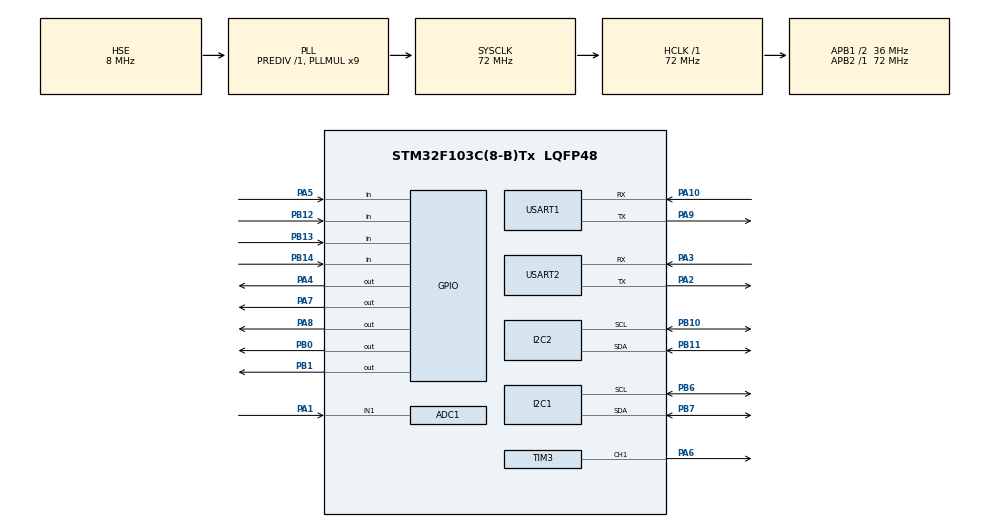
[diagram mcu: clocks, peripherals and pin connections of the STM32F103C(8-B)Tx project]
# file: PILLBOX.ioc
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ADC1.Channel-0\#ChannelRegularConversion=ADC_CHANNEL_1
ADC1.NbrOfConversionFlag=1
ADC1.Rank-0\#ChannelRegularConversion=1
ADC1.SamplingTime-0\#ChannelRegularConversion=ADC_SAMPLETIME_1CYCLE_5
ADC1.master=1
Mcu.Family=STM32F1
Mcu.Name=STM32F103C(8-B)Tx
Mcu.Package=LQFP48
NVIC.ADC1_2_IRQn=true\:2\:0\:true\:false\:true\:true\:true\:true
NVIC.PriorityGroup=NVIC_PRIORITYGROUP_4
NVIC.RTC_Alarm_IRQn=true\:0\:0\:false\:false\:true\:true\:true\:true
NVIC.RTC_IRQn=true\:1\:0\:true\:false\:true\:true\:true\:true
PA1.Signal=ADCx_IN1
PA10.Mode=Asynchronous
PA10.Signal=USART1_RX
PA13.Mode=Serial_Wire
PA13.Signal=SYS_JTMS-SWDIO
PA14.Mode=Serial_Wire
PA14.Signal=SYS_JTCK-SWCLK
PA2.Mode=Asynchronous
PA2.Signal=USART2_TX
PA3.Mode=Asynchronous
PA3.Signal=USART2_RX
PA4.Signal=GPIO_Output
PA5.GPIO_PuPd=GPIO_PULLUP
PA5.Signal=GPIO_Input
PA6.Signal=S_TIM3_CH1
PA7.PinState=GPIO_PIN_SET
PA7.Signal=GPIO_Output
PA8.GPIO_ModeDefaultOutputPP=GPIO_MODE_OUTPUT_OD
PA8.GPIO_PuPd=GPIO_NOPULL
PA8.PinState=GPIO_PIN_SET
PA8.Signal=GPIO_Output
PA9.Mode=Asynchronous
PA9.Signal=USART1_TX
PB0.PinState=GPIO_PIN_SET
PB0.Signal=GPIO_Output
PB1.PinState=GPIO_PIN_SET
PB1.Signal=GPIO_Output
PB10.Mode=I2C
PB10.Signal=I2C2_SCL
PB11.Mode=I2C
PB11.Signal=I2C2_SDA
PB12.GPIO_PuPd=GPIO_PULLUP
PB12.Signal=GPIO_Input
PB13.GPIO_PuPd=GPIO_PULLUP
PB13.Signal=GPIO_Input
PB14.GPIO_PuPd=GPIO_PULLUP
PB14.Signal=GPIO_Input
PB6.Mode=I2C
PB6.Signal=I2C1_SCL
PB7.Mode=I2C
PB7.Signal=I2C1_SDA
PC14-OSC32_IN.Mode=LSE-External-Oscillator
PC14-OSC32_IN.Signal=RCC_OSC32_IN
PC15-OSC32_OUT.Mode=LSE-External-Oscillator
PC15-OSC32_OUT.Signal=RCC_OSC32_OUT
PD0-OSC_IN.Mode=HSE-External-Oscillator
PD0-OSC_IN.Signal=RCC_OSC_IN
PD1-OSC_OUT.Mode=HSE-External-Oscillator
PD1-OSC_OUT.Signal=RCC_OSC_OUT
ProjectManager.HeapSize=0x200
ProjectManager.StackSize=0x400
ProjectManager.TargetToolchain=MDK-ARM V5
RCC.ADCPresc=RCC_ADCPCLK2_DIV6
RCC.AHBFreq_Value=72000000
RCC.APB1CLKDivider=RCC_HCLK_DIV2
RCC.APB1Freq_Value=36000000
RCC.APB1TimFreq_Value=72000000
RCC.APB2Freq_Value=72000000
RCC.APB2TimFreq_Value=72000000
RCC.HCLKFreq_Value=72000000
RCC.PLLMUL=RCC_PLL_MUL9
RCC.PLLSourceVirtual=RCC_PLLSOURCE_HSE
RCC.RTCClockSelection=RCC_RTCCLKSOURCE_LSE
RCC.SYSCLKFreq_VALUE=72000000
RCC.SYSCLKSource=RCC_SYSCLKSOURCE_PLLCLK
RCC.USBFreq_Value=72000000
RTC.Date=14
RTC.Format=RTC_FORMAT_BIN
RTC.Month=RTC_MONTH_APRIL
RTC.WeekDay=RTC_WEEKDAY_TUESDAY
SH.ADCx_IN1.0=ADC1_IN1,IN1
SH.S_TIM3_CH1.0=TIM3_CH1,PWM Generation1 CH1
TIM3.Channel-PWM\ Generation1\ CH1=TIM_CHANNEL_1
TIM3.Period=20000-1
TIM3.Prescaler=72-1
USART1.VirtualMode=VM_ASYNC
USART2.VirtualMode=VM_ASYNC
VP_RTC_VS_RTC_Activate.Mode=RTC_Enabled
VP_RTC_VS_RTC_Calendar.Mode=RTC_Calendar
board=custom

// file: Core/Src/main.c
/* USER CODE BEGIN Header */
/**
  ******************************************************************************
  * @file           : main.c
  * @brief          : Main program body
  ******************************************************************************
  * @attention
  *
  * Copyright (c) 2026 STMicroelectronics.
  * All rights reserved.
  *
  * This software is licensed under terms that can be found in the LICENSE file
  * in the root directory of this software component.
  * If no LICENSE file comes with this software, it is provided AS-IS.
  *
  ******************************************************************************
  */
/* USER CODE END Header */
#include "main.h"
#include "adc.h"
#include "i2c.h"
#include "rtc.h"
#include "tim.h"
#include "usart.h"
#include "gpio.h"

/* USER CODE BEGIN Includes */
#include "hardware_config.h"
#include "oled.h"
#include "cw2015.h"
#include "wifi.h"
#include "TW_TTS.h"
#include "servo.h"
#include "actuator.h"
#include "dht11.h"
#include "hx711.h"
#include "light_sensor.h"
#include "key.h"
#include <stdio.h>
#include <string.h>
/* USER CODE END Includes */

/* USER CODE BEGIN PV */
static DHT11_Data dht11_data = {0, 0};
static CW2015_Data cw2015_data = {0, 0, 0};
static uint32_t last_dht11_tick = 0;
static uint32_t last_loop_tick = 0;
static uint8_t medicine_percent = 0;
static float max_weight = 1000.0f;
static uint8_t medicine_low_warned = 0;
static uint32_t last_medicine_warn_tick = 0;
static uint32_t last_wifi_check_tick = 0;
static uint32_t wifi_reconnect_backoff = 5000;
static uint32_t last_cw2015_reinit_tick = 0;
static volatile uint8_t uart2_busy = 0;
volatile uint8_t rtc_time_synced = 0;
/* USER CODE END PV */

void SystemClock_Config(void);

/* USER CODE BEGIN 0 */
/**
 * @brief 微秒级延时函数
 * @details 该函数实现微秒级的精确延时，用于需要精确时序控制的场景，
 *          如 DHT11 传感器通信等
 * @param us 延时时间（单位：微秒）
 * @return 无
 * @note 该函数使用系统时钟频率计算延时周期，通过空操作实现延时
 */
void HAL_Delay_us(uint32_t us)
{
    // 计算延时所需的时钟周期数（考虑系统时钟频率）
    uint32_t ticks = us * (SystemCoreClock / 1000000) / 5;
    // 循环执行空操作，消耗时钟周期
    while (ticks--)
    {
        __NOP();  // 空操作指令
    }
}
/* USER CODE END 0 */

int main(void)
{

  /* MCU Configuration--------------------------------------------------------*/

  /* Reset of all peripherals, Initializes the Flash interface and the Systick. */
  HAL_Init();

  /* Configure the system clock */
  SystemClock_Config();

  /* Initialize all configured peripherals */
  MX_GPIO_Init();
  MX_ADC1_Init();
  MX_I2C1_Init();
  MX_I2C2_Init();
  MX_RTC_Init();
  MX_TIM3_Init();
  MX_USART1_UART_Init();
  MX_USART2_UART_Init();
  /* USER CODE BEGIN 2 */
  OLED_Init();
  CW2015_Init();
  DHT11_Init();
  HX711_Init();
  Servo_Init();
  Actuator_Init();
  TTS_Init();
  Key_Init();
  WiFi_Init();

  OLED_Clear();
  OLED_ShowString(0, 0, "PILLBOX");
  OLED_ShowString(0, 1, "Initializing...");
  OLED_UpdateDisplay();
  HAL_Delay(500);

  WiFi_Connect(WIFI_SSID, WIFI_PASSWORD);

  OLED_Clear();
  OLED_UpdateDisplay();
  last_loop_tick = HAL_GetTick();
  last_dht11_tick = HAL_GetTick();
  last_wifi_check_tick = HAL_GetTick();
  /* USER CODE END 2 */

  /* Infinite loop */
  while (1)
  {

    /* USER CODE BEGIN 3 */
    // ==================== 主循环任务调度（非阻塞） ====================
// 检查是否到达主循环执行周期（通过时间差判断，避免阻塞）
if ((int32_t)(HAL_GetTick() - last_loop_tick) >= MAIN_LOOP_PERIOD_MS)
{
    last_loop_tick = HAL_GetTick(); // 更新上一次主循环的执行时间戳

    // ==================== 基础外设处理 ====================
    Key_Process();   // 按键扫描与逻辑处理（如按键消抖、功能触发）
//    Servo_Process(); // 舵机状态更新与控制（如开关盒动作执行）

    // ==================== DHT11 温湿度读取（定时） ====================
    // 检查是否到达 DHT11 读取间隔
    if ((int32_t)(HAL_GetTick() - last_dht11_tick) >= DHT11_READ_INTERVAL_MS)
    {
        last_dht11_tick = HAL_GetTick(); // 更新 DHT11 读取时间戳
        DHT11_ReadData(&dht11_data);     // 读取温湿度数据并存入结构体
    }

    // ==================== 光照传感器与执行器控制 ====================
    uint8_t light_pct = LightSensor_GetPercent();                     // 获取光照强度百分比
    Actuator_Update(dht11_data.temp, dht11_data.hum, light_pct);     // 根据环境数据更新执行器（风扇/加热器/LED等）

    // ==================== HX711 重量传感器与药品剩余计算 ====================
    HX711_GetWeight();
    medicine_percent = (weight/10/max_weight)*100.0f;

    // ==================== CW2015 电池电量计读取 ====================
    CW2015_ReadData(&cw2015_data);
    if (!cw2015_data.comm_ok)
    {
        if ((int32_t)(HAL_GetTick() - last_cw2015_reinit_tick) >= 10000)
        {
            last_cw2015_reinit_tick = HAL_GetTick();
            CW2015_Init();
        }
    }

    // ==================== 设备状态打包与 WiFi 上报 ====================
    {
        Device_Status dev_status;
        dev_status.temp = dht11_data.temp;
        dev_status.hum = dht11_data.hum;
        dev_status.medicine_percent = medicine_percent;
        dev_status.light_percent = device_state.light_percent;
        dev_status.volume = device_state.current_volume;
        dev_status.battery_soc = cw2015_data.soc;
        dev_status.battery_voltage = cw2015_data.voltage_mv;
        dev_status.led_state = device_state.led_state;
        dev_status.fan_state = device_state.fan_state;
        dev_status.heater_state = device_state.heater_state;
        dev_status.box_open = Servo_IsOpen();
        dev_status.rtc_synced = rtc_time_synced;
        WiFi_UpdateStatus(&dev_status);
    }

    // ==================== TTS 服药提醒检查 ====================
    TTS_CheckReminders(); // 检查是否到达定时服药时间，触发 TTS 语音提醒

    // ==================== WiFi 数据缓冲区处理 ====================
    WiFi_ProcessBuffer(); // 处理 WiFi 模块接收的数据（如解析服务器下发的指令）

    // ==================== WiFi 连接状态检查与重连（每5秒） ====================
    if ((int32_t)(HAL_GetTick() - last_wifi_check_tick) >= wifi_reconnect_backoff)
    {
        last_wifi_check_tick = HAL_GetTick();
        WiFi_State *ws = WiFi_GetState();
        if (!ws->connected)
        {
            WiFi_Connect(WIFI_SSID, WIFI_PASSWORD);
            if (wifi_reconnect_backoff < 60000)
                wifi_reconnect_backoff *= 2;
            else
                wifi_reconnect_backoff = 60000;
        }
        else
        {
            wifi_reconnect_backoff = 5000;
        }
    }

    // ==================== WiFi 命令解析与执行 ====================
    char wifi_cmd_buf[4] = {0};
    uint8_t wifi_cmd_len = WiFi_GetCommand(wifi_cmd_buf); // 从 WiFi 模块获取下发的命令
    if (wifi_cmd_len > 0)
    {
        char wifi_cmd = wifi_cmd_buf[0]; // 提取命令字（首字节）

        // 命令 'O'：切换药盒开关（开→关 / 关→开）
        if (wifi_cmd == 'O')
        {
            if (Servo_IsOpen())
            {
                Servo_Toggle();       // 切换舵机状态（关闭药盒）
                TTS_PLAY1(1); // TTS 语音提示
            }
            else
            {
                Servo_Toggle();       // 切换舵机状态（打开药盒）
                TTS_PLAY1(0);// TTS 语音提示
            }
        }
        // 命令 'C'：关闭药盒（仅当药盒打开时执行）
        else if (wifi_cmd == 'C')
        {
            if (Servo_IsOpen())
            {
                Servo_Toggle();       // 关闭药盒
                TTS_PLAY1(1); // TTS 语音提示
            }
        }
        // 命令 'U'：音量增加
        else if (wifi_cmd == 'U')
        {
            TTS_VolumeUp();                          // TTS 音量 +1
            device_state.current_volume = TTS_GetVolume(); // 保存当前音量到全局状态
        }
        // 命令 'D'：音量减小
        else if (wifi_cmd == 'D')
        {
            TTS_VolumeDown();                        // TTS 音量 -1
            device_state.current_volume = TTS_GetVolume(); // 保存当前音量到全局状态
        }
        // 命令 'V'：设置指定音量（0-100）
        else if (wifi_cmd == 'V')
        {
            uint8_t vol = wifi_cmd_buf[1];          // 提取音量值（命令第二字节）
            TTS_SetVolume100(vol);                   // 设置 TTS 音量（范围 0-100）
            device_state.current_volume = TTS_GetVolume(); // 保存当前音量到全局状态
        }
    }

    // ==================== 药品不足提醒（定时 TTS） ====================
    if (medicine_percent < 10)
    {
        // 若未提醒过，或距离上次提醒超过 60 秒，触发提醒
        if (!medicine_low_warned || (int32_t)(HAL_GetTick() - last_medicine_warn_tick) >= 60000)
        {
            TTS_PLAY1(2);              // TTS 播放“药品不足”提醒
            medicine_low_warned = 1;             // 标记“已提醒”
            last_medicine_warn_tick = HAL_GetTick(); // 更新提醒时间戳
        }
    }
    else
    {
        medicine_low_warned = 0; // 药品充足时，重置“已提醒”标记
    }

    // ==================== OLED 显示屏更新 ====================
    OLED_Clear(); // 清空 OLED 显示缓冲区（准备绘制新内容）
    // 获取 RTC 实时时钟时间与日期
    RTC_TimeTypeDef sTime;
    RTC_DateTypeDef sDate;
    HAL_RTC_GetTime(&hrtc, &sTime, RTC_FORMAT_BIN); // 获取时间（二进制格式）
    HAL_RTC_GetDate(&hrtc, &sDate, RTC_FORMAT_BIN); // 获取日期（二进制格式，本代码未用日期）

    // -------------------- 第 0 行：时间 + 音量 --------------------
    OLED_ShowString(0, 0, "T:");       // 显示 "T:"（时间前缀）
    OLED_ShowNum(12, 0, sTime.Hours, 2);   // 显示小时（2位）
    OLED_ShowString(24, 0, ":");       // 显示 ":"
    OLED_ShowNum(30, 0, sTime.Minutes, 2); // 显示分钟（2位）
    OLED_ShowString(42, 0, ":");       // 显示 ":"
    OLED_ShowNum(48, 0, sTime.Seconds, 2); // 显示秒（2位）

    OLED_ShowString(66, 0, "V:");      // 显示 "V:"（音量前缀）
    OLED_ShowNum(78, 0, device_state.current_volume, 3); // 显示音量（3位）

    // -------------------- 第 1 行：温度 + 湿度 --------------------
    OLED_ShowString(0, 1, "Temp:");    // 显示 "Temp:"（温度前缀）
    OLED_ShowNum(30, 1, dht11_data.temp, 2); // 显示温度（2位）
    OLED_ShowString(42, 1, "C");       // 显示 "C"（摄氏度单位）

    OLED_ShowString(66, 1, "Hum:");     // 显示 "Hum:"（湿度前缀）
    OLED_ShowNum(90, 1, dht11_data.hum, 2);  // 显示湿度（2位）
    OLED_ShowString(102, 1, "%");       // 显示 "%"（百分比单位）

    // -------------------- 第 2 行：药品剩余 + 电池电量 --------------------
    OLED_ShowString(0, 2, "Med:");     // 显示 "Med:"（药品前缀）
    OLED_ShowPercent(24, 2, medicine_percent); // 显示药品剩余百分比

    OLED_ShowString(66, 2, "Bat:");     // 显示 "Bat:"（电池前缀）
    OLED_ShowPercent(90, 2, cw2015_data.soc); // 显示电池电量百分比

    // -------------------- 第 3 行：光照强度 --------------------
    OLED_ShowString(0, 3, "Light:");   // 显示 "Light:"（光照前缀）
    OLED_ShowPercent(36, 3, device_state.light_percent); // 显示光照百分比

    // -------------------- 第 4 行：WiFi 状态与 IP --------------------
    WiFi_State *ws = WiFi_GetState();   // 获取 WiFi 状态
    if (ws->connected)
    {
        OLED_ShowString(0, 4, "IP:");   // 显示 "IP:"
        if (ws->ip[0] != '\0')
        {
            OLED_ShowString(18, 4, ws->ip); // 显示已获取的 IP 地址
        }
        else
        {
            OLED_ShowString(18, 4, "getting..."); // 正在获取 IP 中
        }
    }
    else
    {
        OLED_ShowString(0, 4, "Connecting..."); // 正在连接 WiFi
    }

    OLED_UpdateDisplay(); // 将缓冲区内容刷新到 OLED 屏幕（实际显示更新）
}
}
  /* USER CODE END 3 */
}

void SystemClock_Config(void)
{
  RCC_OscInitTypeDef RCC_OscInitStruct = {0};
  RCC_ClkInitTypeDef RCC_ClkInitStruct = {0};
  RCC_PeriphCLKInitTypeDef PeriphClkInit = {0};

  /** Initializes the RCC Oscillators according to the specified parameters
  * in the RCC_OscInitTypeDef structure.
  */
  RCC_OscInitStruct.OscillatorType = RCC_OSCILLATORTYPE_HSE|RCC_OSCILLATORTYPE_LSE;
  RCC_OscInitStruct.HSEState = RCC_HSE_ON;
  RCC_OscInitStruct.HSEPredivValue = RCC_HSE_PREDIV_DIV1;
  RCC_OscInitStruct.LSEState = RCC_LSE_ON;
  RCC_OscInitStruct.HSIState = RCC_HSI_ON;
  RCC_OscInitStruct.PLL.PLLState = RCC_PLL_ON;
  RCC_OscInitStruct.PLL.PLLSource = RCC_PLLSOURCE_HSE;
  RCC_OscInitStruct.PLL.PLLMUL = RCC_PLL_MUL9;
  if (HAL_RCC_OscConfig(&RCC_OscInitStruct) != HAL_OK)
  {
    Error_Handler();
  }

  /** Initializes the CPU, AHB and APB buses clocks
  */
  RCC_ClkInitStruct.ClockType = RCC_CLOCKTYPE_HCLK|RCC_CLOCKTYPE_SYSCLK
                              |RCC_CLOCKTYPE_PCLK1|RCC_CLOCKTYPE_PCLK2;
  RCC_ClkInitStruct.SYSCLKSource = RCC_SYSCLKSOURCE_PLLCLK;
  RCC_ClkInitStruct.AHBCLKDivider = RCC_SYSCLK_DIV1;
  RCC_ClkInitStruct.APB1CLKDivider = RCC_HCLK_DIV2;
  RCC_ClkInitStruct.APB2CLKDivider = RCC_HCLK_DIV1;

  if (HAL_RCC_ClockConfig(&RCC_ClkInitStruct, FLASH_LATENCY_2) != HAL_OK)
  {
    Error_Handler();
  }
  PeriphClkInit.PeriphClockSelection = RCC_PERIPHCLK_RTC|RCC_PERIPHCLK_ADC;
  PeriphClkInit.RTCClockSelection = RCC_RTCCLKSOURCE_LSE;
  PeriphClkInit.AdcClockSelection = RCC_ADCPCLK2_DIV6;
  if (HAL_RCCEx_PeriphCLKConfig(&PeriphClkInit) != HAL_OK)
  {
    Error_Handler();
  }
}

/* USER CODE BEGIN 4 */
extern volatile uint8_t wifi_buffer[512];
extern volatile uint16_t wifi_buffer_index;
extern uint8_t wifi_rx_byte;

/**
 * @brief UART 接收完成回调函数
 * @details 该函数在 UART 接收完成时被 HAL 库自动调用，
 *          用于处理 WiFi 模块的数据接收
 * @param huart UART 句柄指针，指示哪个 UART 端口接收完成
 * @return 无
 * @note 该函数在中断上下文中执行，需要快速处理
 */
void HAL_UART_RxCpltCallback(UART_HandleTypeDef *huart)
{
    // 检查是否是 USART1（WiFi 模块使用的串口）
    if (huart->Instance == USART1)
    {
        // 检查缓冲区是否还有空间
        if (wifi_buffer_index < 511)
        {
            // 将接收到的字节存入缓冲区
            wifi_buffer[wifi_buffer_index++] = wifi_rx_byte;
        }
        // 重新启动中断接收，准备接收下一个字节
        HAL_UART_Receive_IT(&huart1, &wifi_rx_byte, 1);
    }
}
/* USER CODE END 4 */

void Error_Handler(void)
{
  __disable_irq();
  while (1)
  {
  }
}
